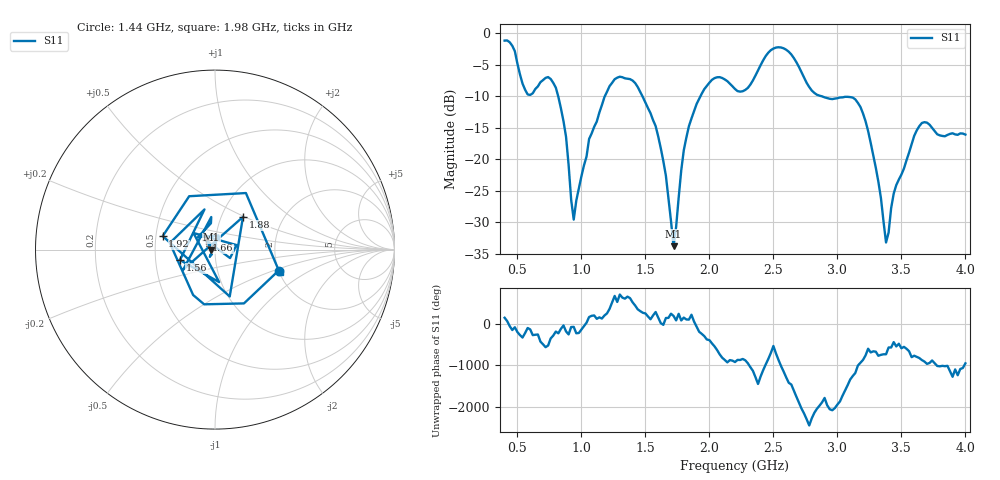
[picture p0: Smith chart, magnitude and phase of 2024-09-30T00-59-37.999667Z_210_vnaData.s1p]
!Created with skrf (http://scikit-rf.org).
# Hz S RI R 50.0
!freq ReS11 ImS11
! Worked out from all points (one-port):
!   181 points, 400 MHz to 4 GHz, reference 50 ohm
!   lowest |S11| = -33.8 dB at 1.72 GHz (marker M1), VSWR 1.04, Z = 48 - j0.107 ohm
!   |S11| at or under -10 dB: 818.3 MHz to 1.184 GHz (365.2 MHz wide, 36.5 % of centre); 1.476 GHz to 1.931 GHz (454.5 MHz wide, 26.7 % of centre); 2.873 GHz to end of sweep
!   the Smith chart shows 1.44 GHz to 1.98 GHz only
!   S11 on the Smith chart (normalised r, x): 1.44 GHz: 2.00, -0.54; 1.56 GHz: 0.67, -0.08; 1.66 GHz: 0.90, +0.10; 1.88 GHz: 1.26, +0.49; 1.92 GHz: 0.54, +0.09; 1.98 GHz: 2.01, -0.59
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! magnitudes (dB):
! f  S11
! 400 MHz  -1.2
! 480 MHz  -2.9
! 580 MHz  -9.7
! 760 MHz  -7.3
! 860 MHz  -14.0
! 940 MHz  -29.6
! 1.06 GHz  -16.8
! 1.3 GHz  -6.9
! 1.44 GHz  -8.6
! 1.56 GHz  -13.8
! 1.66 GHz  -22.6
! 1.72 GHz  -33.8
! 1.76 GHz  -26.1
! 1.8 GHz  -18.6
! 1.88 GHz  -12.4
! 1.92 GHz  -10.4
! 1.98 GHz  -8.4
! 2.2 GHz  -8.9
! 2.5 GHz  -2.5
! 2.66 GHz  -4.0
! 2.84 GHz  -9.8
! 3.1 GHz  -10.2
! 3.24 GHz  -15.6
! 3.38 GHz  -33.2
! 3.44 GHz  -25.5
! 3.56 GHz  -19.0
! 3.68 GHz  -14.1
! 4 GHz  -16.1
